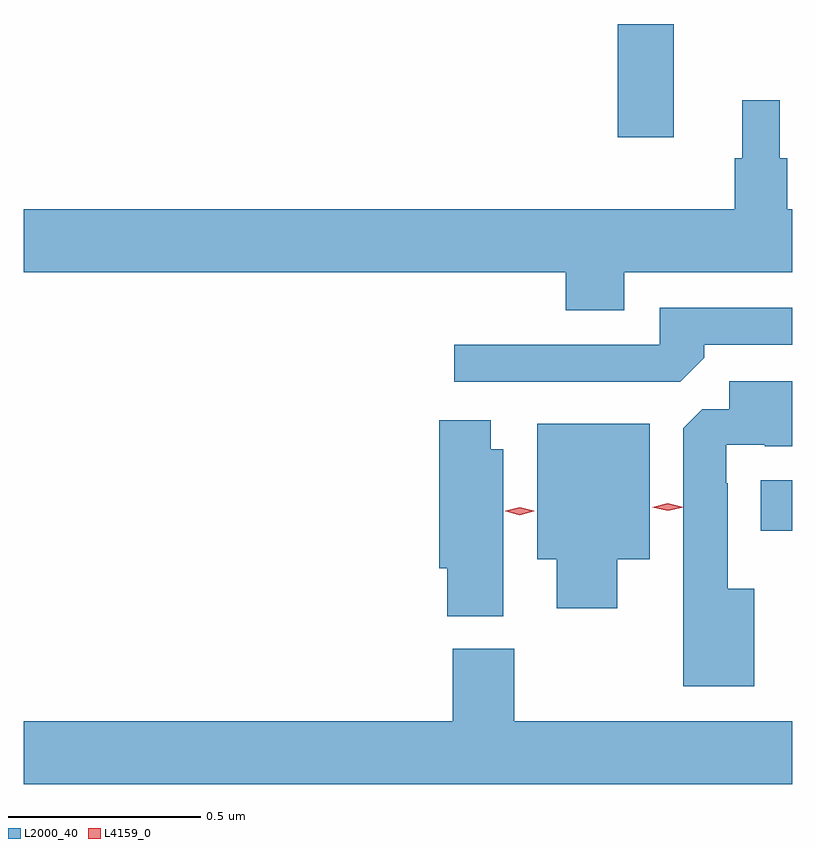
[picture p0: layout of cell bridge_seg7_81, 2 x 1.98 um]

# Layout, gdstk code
import gdstk
lib = gdstk.Library(unit=1e-6, precision=1e-09)
def R(c, l, rs):  # rectangles x0, y0, x1, y1
    for r in rs: c.add(gdstk.rectangle(r[:2], r[2:], *l))
def P(c, l, *ps):  # polygons
    for p in ps: c.add(gdstk.Polygon(p, *l))
L2000_40 = (2000, 40)
L4159_0 = (4159, 0)

bridge_seg7_81 = lib.new_cell('bridge_seg7_81')
R(bridge_seg7_81, L2000_40, [(1057.718,1005.272,1057.8,1005.403), (1057.346,1006.296,1057.492,1006.591)])
P(bridge_seg7_81, L2000_40, [(1057.363,1005.944),(1057.8,1005.944),(1057.8,1006.108),(1057.787,1006.108),(1057.787,1006.242),(1057.768,1006.242),(1057.768,1006.393),(1057.67,1006.393),(1057.67,1006.242),(1057.651,1006.242),(1057.651,1006.108),(1055.8,1006.108),(1055.8,1005.944),(1057.211,1005.944),(1057.211,1005.845),(1057.363,1005.845)],
  [(1057.571,1005.722),(1057.571,1005.756),(1057.8,1005.756),(1057.8,1005.852),(1057.455,1005.852),(1057.455,1005.756),(1056.921,1005.756),(1056.921,1005.66),(1057.509,1005.66)],
  [(1057.702,1005.121),(1057.633,1005.121),(1057.633,1005.395),(1057.629,1005.395),(1057.629,1005.495),(1057.729,1005.495),(1057.729,1005.491),(1057.8,1005.491),(1057.8,1005.661),(1057.637,1005.661),(1057.637,1005.588),(1057.566,1005.588),(1057.517,1005.539),(1057.517,1004.867),(1057.702,1004.867)],
  [(1057.048,1005.484),(1057.015,1005.484),(1057.015,1005.559),(1056.881,1005.559),(1056.881,1005.174),(1056.902,1005.174),(1056.902,1005.049),(1057.048,1005.049)],
  [(1057.345,1005.197),(1057.429,1005.197),(1057.429,1005.55),(1057.136,1005.55),(1057.136,1005.197),(1057.187,1005.197),(1057.187,1005.069),(1057.345,1005.069)],
  [(1057.8,1004.776),(1057.077,1004.776),(1057.077,1004.964),(1056.917,1004.964),(1056.917,1004.776),(1055.8,1004.776),(1055.8,1004.612),(1057.8,1004.612)])
P(bridge_seg7_81, L4159_0, [(1057.477,1005.323),(1057.436,1005.333),(1057.436,1005.333),(1057.436,1005.333),(1057.477,1005.343),(1057.518,1005.333),(1057.518,1005.333),(1057.518,1005.333)],
  [(1057.091,1005.312),(1057.054,1005.322),(1057.053,1005.322),(1057.054,1005.323),(1057.091,1005.332),(1057.128,1005.323),(1057.129,1005.322),(1057.128,1005.322)])

lib.write_gds('bridge_seg7_81.gds')
